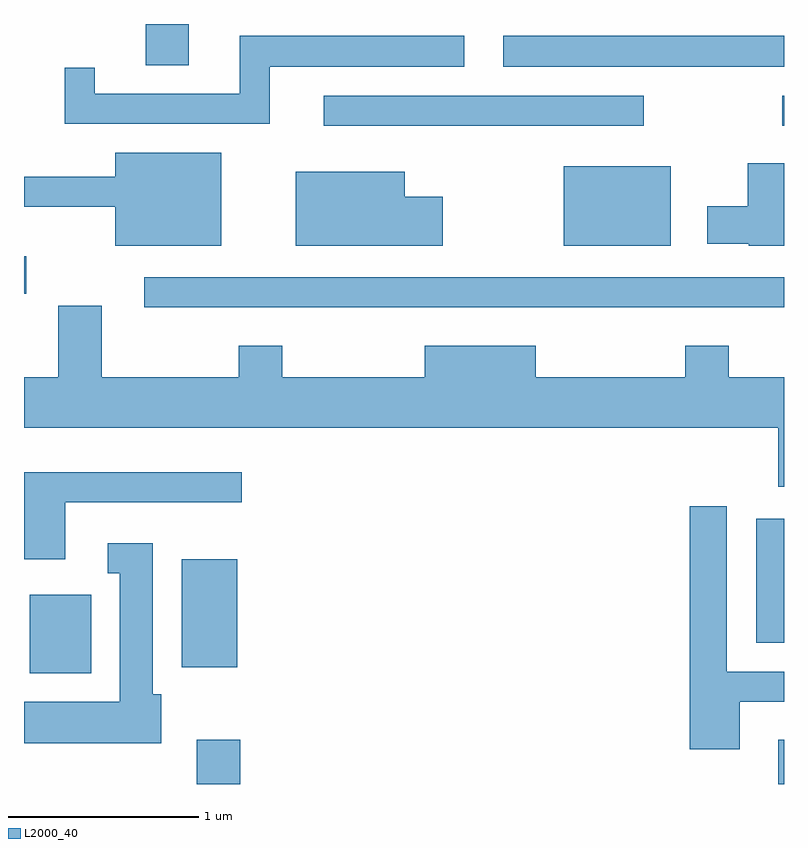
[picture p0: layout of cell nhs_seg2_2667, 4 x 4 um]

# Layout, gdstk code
import gdstk
lib = gdstk.Library(unit=1e-6, precision=1e-09)
def R(c, l, rs):  # rectangles x0, y0, x1, y1
    for r in rs: c.add(gdstk.rectangle(r[:2], r[2:], *l))
def P(c, l, *ps):  # polygons
    for p in ps: c.add(gdstk.Polygon(p, *l))
L2000_40 = (2000, 40)

nhs_seg2_2667 = lib.new_cell('nhs_seg2_2667')
R(nhs_seg2_2667, L2000_40, [(264.521,1019.802,264.749,1020.034), (267.581,1019.802,267.611,1020.034), (263.641,1020.386,263.964,1020.799), (264.441,1020.416,264.734,1020.984), (267.466,1020.546,267.611,1021.199), (264.243,1022.311,267.611,1022.469), (263.611,1022.381,263.624,1022.579), (266.451,1022.636,267.014,1023.054), (265.188,1023.266,266.873,1023.424), (267.603,1023.266,267.611,1023.424), (266.133,1023.576,267.611,1023.739), (264.251,1023.586,264.479,1023.802)])
P(nhs_seg2_2667, L2000_40, [(264.904,1023.576),(265.928,1023.576),(265.928,1023.739),(264.746,1023.739),(264.746,1023.434),(263.984,1023.434),(263.984,1023.573),(263.826,1023.573),(263.826,1023.276),(264.904,1023.276)],
  [(264.649,1023.124),(264.091,1023.124),(264.091,1022.999),(263.611,1022.999),(263.611,1022.841),(264.091,1022.841),(264.091,1022.636),(264.649,1022.636)],
  [(267.611,1023.069),(267.421,1023.069),(267.421,1022.844),(267.206,1022.844),(267.206,1022.646),(267.425,1022.646),(267.425,1022.636),(267.611,1022.636)],
  [(265.814,1022.894),(265.614,1022.894),(265.614,1023.024),(265.041,1023.024),(265.041,1022.636),(265.814,1022.636)],
  [(267.611,1021.944),(267.319,1021.944),(267.319,1022.109),(267.091,1022.109),(267.091,1021.944),(266.304,1021.944),(266.304,1022.109),(265.721,1022.109),(265.721,1021.944),(264.969,1021.944),(264.969,1022.109),(264.741,1022.109),(264.741,1021.944),(264.019,1021.944),(264.019,1022.319),(263.791,1022.319),(263.791,1021.944),(263.611,1021.944),(263.611,1021.676),(267.581,1021.676),(267.581,1021.366),(267.611,1021.366)],
  [(263.829,1021.286),(264.758,1021.286),(264.758,1021.444),(263.611,1021.444),(263.611,1020.986),(263.829,1020.986)],
  [(267.379,1020.236),(267.611,1020.236),(267.611,1020.394),(267.309,1020.394),(267.309,1021.264),(267.116,1021.264),(267.116,1019.986),(267.379,1019.986)],
  [(264.334,1020.274),(264.289,1020.274),(264.289,1021.069),(264.053,1021.069),(264.053,1020.911),(264.116,1020.911),(264.116,1020.234),(263.611,1020.234),(263.611,1020.016),(264.334,1020.016)])

lib.write_gds('nhs_seg2_2667.gds')
